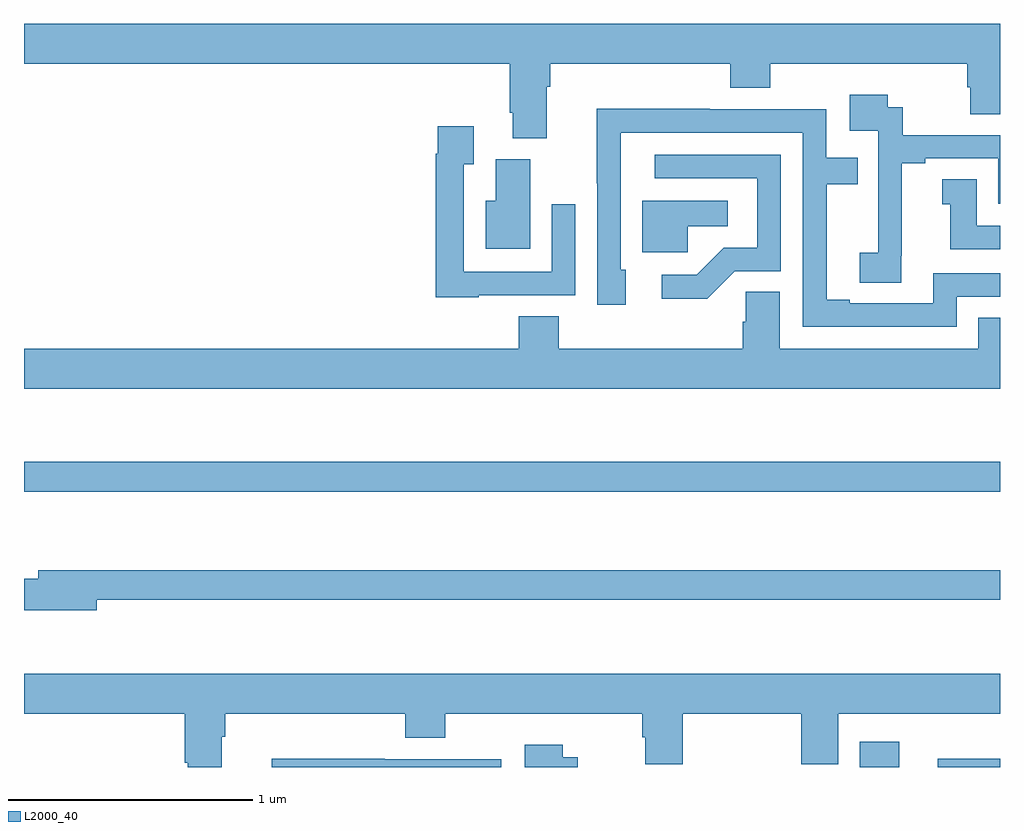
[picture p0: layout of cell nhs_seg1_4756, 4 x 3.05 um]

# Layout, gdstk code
import gdstk
lib = gdstk.Library(unit=1e-6, precision=1e-09)
def R(c, l, rs):  # rectangles x0, y0, x1, y1
    for r in rs: c.add(gdstk.rectangle(r[:2], r[2:], *l))
def P(c, l, *ps):  # polygons
    for p in ps: c.add(gdstk.Polygon(p, *l))
L2000_40 = (2000, 40)

nhs_seg1_4756 = lib.new_cell('nhs_seg1_4756')
R(nhs_seg1_4756, L2000_40, [(372.426,530.199,372.587,530.305), (372.744,530.199,373,530.234), (369,531.33,373,531.451)])
P(nhs_seg1_4756, L2000_40, [(371.143,532.988),(371.156,532.988),(371.156,533.084),(371.894,533.084),(371.894,532.985),(372.059,532.985),(372.059,533.084),(372.866,533.084),(372.866,532.986),(372.878,532.986),(372.878,532.876),(373,532.876),(373,533.248),(369,533.248),(369,533.084),(370.991,533.084),(370.991,532.882),(371.003,532.882),(371.003,532.777),(371.143,532.777)],
  [(372.596,532.297),(372.598,532.297),(372.598,532.675),(372.694,532.675),(372.694,532.695),(372.993,532.695),(372.993,532.509),(373,532.509),(373,532.791),(372.602,532.791),(372.602,532.905),(372.54,532.905),(372.54,532.957),(372.384,532.957),(372.384,532.809),(372.501,532.809),(372.501,532.505),(372.5,532.505),(372.5,532.308),(372.426,532.308),(372.426,532.186),(372.596,532.186)],
  [(372.822,532.128),(373,532.128),(373,532.224),(372.726,532.224),(372.726,532.101),(372.385,532.101),(372.385,532.116),(372.289,532.116),(372.289,532.59),(372.416,532.59),(372.416,532.698),(372.288,532.698),(372.288,532.896),(371.81,532.896),(371.81,532.898),(371.348,532.898),(371.348,532.594),(371.349,532.594),(371.349,532.095),(371.467,532.095),(371.467,532.239),(371.445,532.239),(371.445,532.8),(372.192,532.8),(372.192,532.005),(372.822,532.005)],
  [(370.863,532.134),(371.259,532.134),(371.259,532.507),(371.163,532.507),(371.163,532.23),(370.803,532.23),(370.803,532.672),(370.843,532.672),(370.843,532.828),(370.695,532.828),(370.695,532.715),(370.687,532.715),(370.687,532.127),(370.863,532.127)],
  [(371.913,532.233),(372.102,532.233),(372.102,532.71),(371.586,532.71),(371.586,532.614),(372.006,532.614),(372.006,532.329),(371.868,532.329),(371.757,532.218),(371.613,532.218),(371.613,532.121),(371.8,532.121)],
  [(371.074,532.692),(370.934,532.692),(370.934,532.522),(370.892,532.522),(370.892,532.325),(371.074,532.325)],
  [(373,532.419),(372.904,532.419),(372.904,532.61),(372.764,532.61),(372.764,532.507),(372.797,532.507),(372.797,532.323),(373,532.323)],
  [(371.721,532.418),(371.884,532.418),(371.884,532.522),(371.534,532.522),(371.534,532.311),(371.721,532.311)],
  [(373,532.043),(372.911,532.043),(372.911,531.916),(372.097,531.916),(372.097,532.148),(371.958,532.148),(371.958,532.025),(371.945,532.025),(371.945,531.916),(371.192,531.916),(371.192,532.049),(371.027,532.049),(371.027,531.916),(369,531.916),(369,531.752),(373,531.752)],
  [(369.298,530.886),(373,530.886),(373,531.007),(369.059,531.007),(369.059,530.973),(369,530.973),(369,530.843),(369.298,530.843)],
  [(369.811,530.324),(369.824,530.324),(369.824,530.42),(370.562,530.42),(370.562,530.321),(370.727,530.321),(370.727,530.42),(371.534,530.42),(371.534,530.322),(371.546,530.322),(371.546,530.212),(371.699,530.212),(371.699,530.42),(372.185,530.42),(372.185,530.212),(372.337,530.212),(372.337,530.42),(373,530.42),(373,530.584),(369,530.584),(369,530.42),(369.659,530.42),(369.659,530.218),(369.671,530.218),(369.671,530.199),(369.811,530.199)],
  [(371.27,530.241),(371.208,530.241),(371.208,530.293),(371.052,530.293),(371.052,530.199),(371.27,530.199)],
  [(370.956,530.232),(370.478,530.232),(370.478,530.234),(370.016,530.234),(370.016,530.199),(370.956,530.199)])

lib.write_gds('nhs_seg1_4756.gds')
